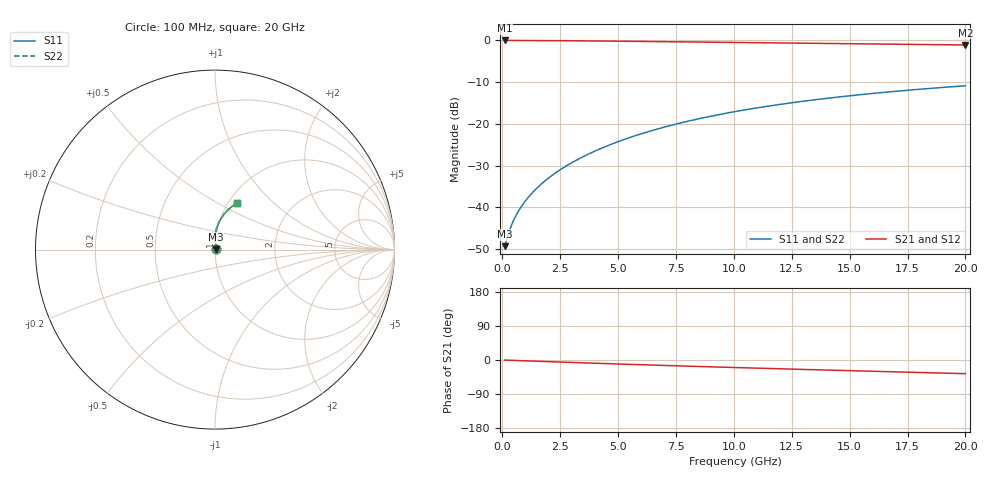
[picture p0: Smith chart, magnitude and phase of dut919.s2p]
! Touchstone file exported from HFSS 2024.1.0
!  File:  C:/UserFiles/LocalFiles/RDL_TSV_Batchsim/temp_RDL_bottom_919_1779940802.aedt
!  Generated:  12:02:52 PM May 28, 2026
!  Design:  RDL_bottom
!  Project:  temp_RDL_bottom_919_1779940802
!  Setup:  Setup1
!  Solution:  Sweep
! Variables:
!  dtsv = 10.80580581um
!  hbump = 3um
!  htsv = 76.9um
!  ldown = 528.92um
!  lrdl = 100um
!  p = 40
!  p1 = 48.92um
!  rhole = 1um
!  t = 450um
!  tdown = 2.38um
!  trdl = 3.915915916um
!  wdown = 28.19um
!  wrdl = 20um
# GHz S MA R 50.000000
! Terminal data exported
! Port[1] = RDL1_T1
! Port[2] = RDL1_T2
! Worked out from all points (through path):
!   200 points, 100 MHz to 20 GHz, reference 50 ohm
!   highest |S21| = -0.03 dB at 100 MHz (marker M1); lowest = -1.1 dB at 20 GHz (marker M2)
!   group delay of S21, straight-line fit = 4.95 ps
!   lowest |S11| = -49.3 dB at 100 MHz (marker M3), VSWR 1.01, Z = 50.3 + j0.134 ohm
!   |S11| at or under -10 dB: start of sweep to end of sweep
!   |S22| runs from -49.3 to -10.9 dB; largest |S21 - S12| = 3.1e-15
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0.1  0.003418 23.0  0.9968 -0.2  0.9968 -0.2  0.003418 23.0
! Gamma 0 0 0 0
! Port Impedance 50 0 50 0
0.3  0.005134 48.0  0.9964 -0.7  0.9964 -0.7  0.005134 48.0
0.4  0.006113 54.0  0.9962 -0.9  0.9962 -0.9  0.006113 54.0
0.5  0.007086 58.4  0.996 -1.1  0.996 -1.1  0.007085 58.4
0.6  0.008049 61.8  0.9957 -1.4  0.9957 -1.4  0.008049 61.8
0.8  0.009973 67.0  0.9953 -1.8  0.9953 -1.8  0.009972 67.0
1  0.01193 70.9  0.9949 -2.2  0.9949 -2.2  0.01192 70.9
1.2  0.01392 74.0  0.9944 -2.7  0.9944 -2.7  0.01392 74.1
1.7  0.01915 79.5  0.9931 -3.7  0.9931 -3.7  0.01915 79.6
2.2  0.02468 83.1  0.9914 -4.8  0.9914 -4.8  0.02468 83.1
2.8  0.03173 85.8  0.989 -6.1  0.989 -6.1  0.03173 85.9
3.5  0.0405 87.8  0.9856 -7.5  0.9856 -7.5  0.0405 87.8
4.2  0.04981 88.9  0.9819 -9.0  0.9819 -9.0  0.04983 88.9
5  0.06107 89.3  0.9771 -10.6  0.9771 -10.6  0.06109 89.4
5.9  0.07438 89.1  0.9714 -12.3  0.9714 -12.3  0.07441 89.1
6.8  0.0882 88.3  0.9655 -14.0  0.9655 -14.0  0.08825 88.4
8.4  0.1135 86.2  0.9547 -17.0  0.9547 -17.0  0.1136 86.3
10.1  0.1408 83.3  0.9433 -20.0  0.9433 -20.0  0.1409 83.3
11.7  0.1662 80.2  0.9327 -22.7  0.9327 -22.7  0.1664 80.3
13.4  0.1926 77.0  0.9216 -25.6  0.9216 -25.6  0.1928 77.1
16.7  0.2411 70.7  0.9005 -30.9  0.9005 -30.9  0.2414 70.8
20  0.2854 64.7  0.8798 -36.1  0.8798 -36.1  0.2857 64.8
